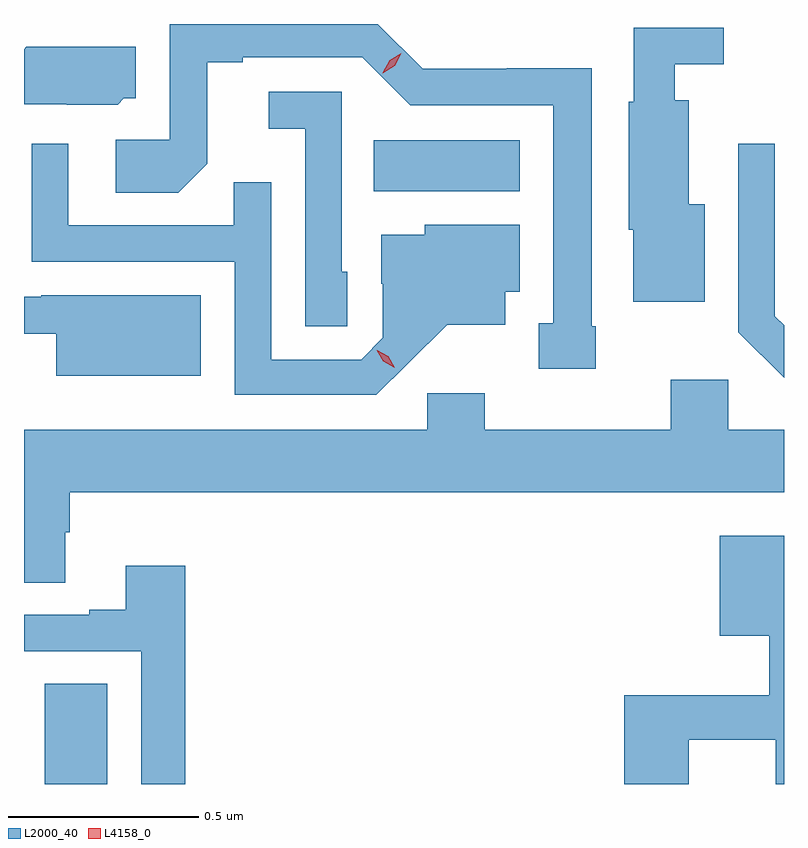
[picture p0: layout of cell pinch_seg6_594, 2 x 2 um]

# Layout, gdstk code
import gdstk
lib = gdstk.Library(unit=1e-6, precision=1e-09)
def R(c, l, rs):  # rectangles x0, y0, x1, y1
    for r in rs: c.add(gdstk.rectangle(r[:2], r[2:], *l))
def P(c, l, *ps):  # polygons
    for p in ps: c.add(gdstk.Polygon(p, *l))
L2000_40 = (2000, 40)
L4158_0 = (4158, 0)

pinch_seg6_594 = lib.new_cell('pinch_seg6_594')
R(pinch_seg6_594, L2000_40, [(625.568,971.876,625.732,972.14), (626.434,973.436,626.818,973.57)])
P(pinch_seg6_594, L2000_40, [(627.017,973.081),(627.007,973.081),(627.007,973.76),(626.784,973.76),(626.784,973.758),(626.562,973.758),(626.444,973.876),(625.896,973.876),(625.896,973.572),(625.755,973.572),(625.755,973.432),(625.919,973.432),(625.995,973.508),(625.995,973.776),(626.089,973.776),(626.089,973.788),(626.403,973.788),(626.529,973.662),(626.906,973.662),(626.906,973.089),(626.867,973.089),(626.867,972.969),(627.017,972.969)],
  [(627.304,973.402),(627.262,973.402),(627.262,973.675),(627.226,973.675),(627.226,973.77),(627.355,973.77),(627.355,973.866),(627.117,973.866),(627.117,973.671),(627.104,973.671),(627.104,973.335),(627.116,973.335),(627.116,973.145),(627.304,973.145)],
  [(625.776,973.68),(625.807,973.68),(625.807,973.816),(625.519,973.816),(625.513,973.81),(625.513,973.665),(625.626,973.665),(625.626,973.664),(625.76,973.664)],
  [(626.364,973.224),(626.349,973.224),(626.349,973.698),(626.157,973.698),(626.157,973.601),(626.253,973.601),(626.253,973.081),(626.364,973.081)],
  [(626.524,972.983),(626.627,973.085),(626.779,973.085),(626.779,973.172),(626.818,973.172),(626.818,973.348),(626.568,973.348),(626.568,973.321),(626.453,973.321),(626.453,973.192),(626.457,973.192),(626.457,973.05),(626.4,972.993),(626.163,972.993),(626.163,973.46),(626.065,973.46),(626.065,973.347),(625.629,973.347),(625.629,973.561),(625.533,973.561),(625.533,973.251),(626.067,973.251),(626.067,972.9),(626.44,972.9)],
  [(627.513,973.083),(627.489,973.107),(627.489,973.561),(627.393,973.561),(627.393,973.065),(627.513,972.945)],
  [(625.978,973.162),(625.558,973.162),(625.558,973.158),(625.513,973.158),(625.513,973.061),(625.598,973.061),(625.598,972.95),(625.978,972.95)],
  [(625.621,972.538),(625.634,972.538),(625.634,972.644),(627.513,972.644),(627.513,972.808),(627.366,972.808),(627.366,972.94),(627.215,972.94),(627.215,972.808),(626.726,972.808),(626.726,972.904),(626.574,972.904),(626.574,972.808),(625.513,972.808),(625.513,972.406),(625.621,972.406)],
  [(627.262,971.992),(627.491,971.992),(627.491,971.876),(627.513,971.876),(627.513,972.529),(627.344,972.529),(627.344,972.266),(627.474,972.266),(627.474,972.109),(627.092,972.109),(627.092,971.876),(627.262,971.876)],
  [(625.937,972.451),(625.781,972.451),(625.781,972.334),(625.685,972.334),(625.685,972.321),(625.513,972.321),(625.513,972.225),(625.821,972.225),(625.821,971.876),(625.937,971.876)])
P(pinch_seg6_594, L4158_0, [(626.457,973.747),(626.457,973.748),(626.475,973.78),(626.506,973.799),(626.506,973.799),(626.506,973.799),(626.489,973.766),(626.457,973.747)],
  [(626.489,972.972),(626.458,972.988),(626.441,973.018),(626.441,973.018),(626.442,973.018),(626.472,973.002),(626.489,972.972),(626.489,972.972)])

lib.write_gds('pinch_seg6_594.gds')
